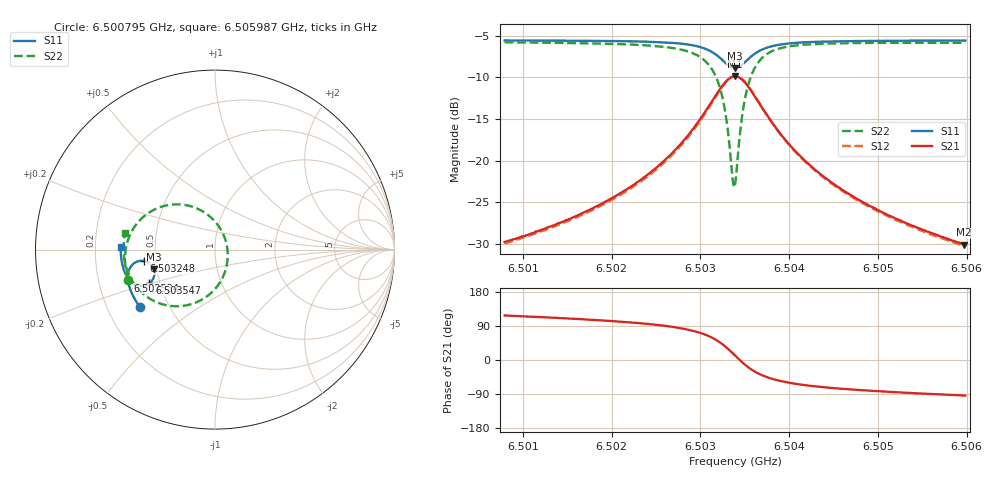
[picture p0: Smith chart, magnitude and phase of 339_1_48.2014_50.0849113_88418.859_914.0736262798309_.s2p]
#  HZ  S  RI  R  50.00
! Rohde & Schwarz Vector Network Analyzer
! Rohde-Schwarz,ZNB20-2Port,1311601062101988,3.16
! Created: UTC 3/20/2024, 11:51:12 AM
! freq[Hz]  re:S11  im:S11  re:S21  im:S21  re:S12  im:S12  re:S22  im:S22
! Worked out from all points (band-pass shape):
!   401 points, 6.500795 GHz to 6.505987 GHz, reference 50 ohm
!   highest |S21| = -9.88 dB at 6.503391 GHz (marker M1); lowest = -30.1 dB at 6.505975 GHz (marker M2)
!   |S21| within 3 dB of the highest: 6.503131 GHz to 6.50365 GHz (519.2 kHz wide, 0.00798 % of centre)
!   lowest |S11| = -8.9 dB at 6.503391 GHz (marker M3), VSWR 2.11, Z = 24.1 - j6.13 ohm
!   |S11| at or under -10 dB: nowhere
!   |S22| runs from -23.2 to -5.8 dB; largest |S21 - S12| = 0.011
!   S11 on the Smith chart (normalised r, x): 6.500795 GHz: 0.34, -0.30; 6.502534 GHz: 0.33, -0.15; 6.503248 GHz: 0.43, -0.06; 6.503547 GHz: 0.44, -0.20; 6.505987 GHz: 0.31, +0.01
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6.5007949e9  -0.4191 -0.3188  -0.0151 0.0289  -0.0134 0.0289  -0.4852 -0.168
6.5016646e9  -0.4577 -0.2559  -0.0146 0.046  -0.0122 0.0456  -0.5009 -0.078
6.5021839e9  -0.4763 -0.2105  -0.0114 0.0672  -0.00843 0.066  -0.4985 -0.00578
6.5025344e9  -0.4849 -0.1722  -0.00341 0.0937  0.000176 0.0914  -0.4816 0.0629
6.502833e9  -0.4836 -0.129  0.0201 0.1345  0.0239 0.1304  -0.4325 0.1483
6.5030277e9  -0.4667 -0.0917  0.0662 0.175  0.069 0.1692  -0.3435 0.2203
6.5031575e9  -0.4352 -0.0674  0.1344 0.1975  0.1356 0.1912  -0.2195 0.2521
6.5032484e9  -0.3976 -0.0625  0.2097 0.1876  0.2099 0.1824  -0.0892 0.2241
6.5033003e9  -0.3725 -0.0708  0.257 0.1602  0.2579 0.1555  -0.0105 0.1676
6.5033652e9  -0.3465 -0.0967  0.3038 0.0979  0.3063 0.0928  0.0599 0.048
6.5033912e9  -0.3402 -0.1108  0.3138 0.0664  0.3168 0.0605  0.0704 -0.0105
6.5034042e9  -0.3384 -0.1184  0.3163 0.05  0.3196 0.0436  0.0709 -0.0405
6.503482e9  -0.3442 -0.1622  0.2998 -0.0424  0.3016 -0.0521  0.0145 -0.202
6.503547e9  -0.3651 -0.1873  0.258 -0.0953  0.2569 -0.1063  -0.0795 -0.2823
6.5036508e9  -0.4037 -0.2019  0.1854 -0.1307  0.1803 -0.1397  -0.2254 -0.3153
6.5038196e9  -0.4488 -0.1919  0.1061 -0.1281  0.0992 -0.1329  -0.3688 -0.2701
6.5040013e9  -0.4758 -0.1706  0.0626 -0.1087  0.0565 -0.1108  -0.4391 -0.2068
6.5042609e9  -0.4963 -0.1407  0.0333 -0.0853  0.0287 -0.0856  -0.4816 -0.1359
6.5046634e9  -0.5121 -0.0996  0.0142 -0.0622  0.011 -0.0617  -0.5041 -0.0595
6.5051307e9  -0.5211 -0.0568  0.00483 -0.0466  0.00277 -0.0459  -0.5096 0.00401
6.5059745e9  -0.5258 0.0142  -0.00201 -0.0313  -0.00335 -0.0307  -0.5015 0.0915
6.5059875e9  -0.5258 0.0151  -0.00209 -0.0313  -0.00336 -0.0305  -0.5013 0.0928
